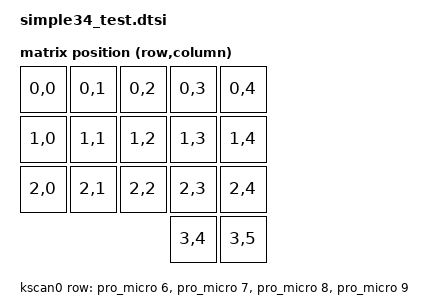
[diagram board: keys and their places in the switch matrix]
#include <dt-bindings/zmk/matrix_transform.h>

/ {
    kscan0: kscan0 {
        compatible = "zmk,kscan-gpio-matrix";
        diode-direction = "col2row";
        wakeup-source;

        row-gpios
            = <&pro_micro 6 (GPIO_ACTIVE_HIGH | GPIO_PULL_DOWN)>
            , <&pro_micro 7 (GPIO_ACTIVE_HIGH | GPIO_PULL_DOWN)>
            , <&pro_micro 8 (GPIO_ACTIVE_HIGH | GPIO_PULL_DOWN)>
            , <&pro_micro 9 (GPIO_ACTIVE_HIGH | GPIO_PULL_DOWN)>
            ;         
    };

    default_transform: keymap_transform0 {
        compatible = "zmk,matrix-transform";
        columns = <6>;
        rows = <4>;
        map = <
            RC(0, 0) RC(0, 1) RC(0, 2) RC(0, 3) RC(0, 4)
            RC(1, 0) RC(1, 1) RC(1, 2) RC(1, 3) RC(1, 4)
            RC(2, 0) RC(2, 1) RC(2, 2) RC(2, 3) RC(2, 4)
                                       RC(3, 4) RC(3, 5)
        >;
    };

    chosen {
        zmk,kscan = &kscan0;
        zmk,matrix-transform = &default_transform;
    };
};
